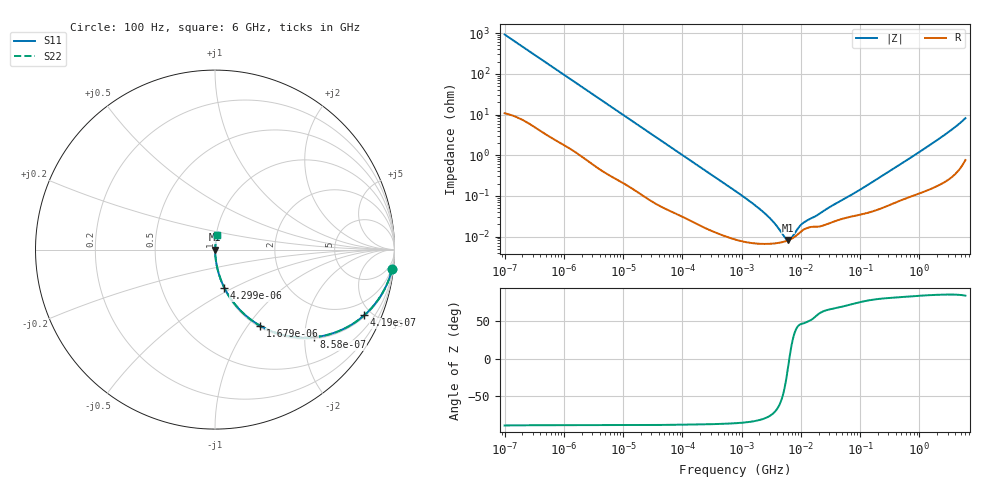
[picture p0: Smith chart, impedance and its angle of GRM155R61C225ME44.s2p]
!Murata Part Number: GRM155R61C225ME44
!These Parameters are Measured in Series Mode Connection
!Data Generated on Mar 30, 2021
!  o--ll--o
!Port1  Port2
!  o------o
!Operation Temp=25[degC], DC Bias Voltage=0[V]
!Freq. Start=100[Hz] Stop=6[GHz] 401[Steps]
# Hz S RI R 50
!Freq.(Hz) S11(Real) S11(Imag) S21(Real) S21(Imag) S12(Real) S12(Imag) S22(Real) S22(Imag)
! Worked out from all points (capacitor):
!   401 points, 100 Hz to 6 GHz, reference 50 ohm
!   read as one part in series: C = 1.71 uF near 109 Hz
!   lowest |Z| = 8.2 mohm at 6.075 MHz (marker M1)
!   series resonance near 6.393 MHz, so ESL is about 360 pH
!   S11 on the Smith chart (normalised r, x): 100 Hz: 1, -19; 419 Hz: 1.08, -4.51; 858 Hz: 1.04, -2.22; 1.679 kHz: 1.02, -1.15; 4.299 kHz: 1.01, -0.45; 6 GHz: 1.02, +0.16
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100  0.9874 -0.106  0.0126 0.106  0.0126 0.106  0.9874 -0.106
224  0.943 -0.224  0.057 0.224  0.057 0.224  0.943 -0.224
419  0.8318 -0.3658  0.1682 0.3658  0.1682 0.3658  0.8318 -0.3658
600  0.7115 -0.4445  0.2885 0.4445  0.2885 0.4445  0.7115 -0.4445
858  0.5515 -0.4883  0.4485 0.4883  0.4485 0.4883  0.5515 -0.4883
1174  0.4011 -0.4807  0.5989 0.4807  0.5989 0.4807  0.4011 -0.4807
1679  0.2511 -0.4241  0.7489 0.4241  0.7489 0.4241  0.2511 -0.4241
2008  0.1919 -0.3843  0.8081 0.3843  0.8081 0.3843  0.1919 -0.3843
4299  0.0522 -0.2134  0.9478 0.2134  0.9478 0.2134  0.0522 -0.2134
11009  0.00976 -0.0882  0.9902 0.0882  0.9902 0.0882  0.00976 -0.0882
40335  0.00119 -0.0247  0.9988 0.0247  0.9988 0.0247  0.00119 -0.0247
774597  8.62e-05 -0.00133  0.9999 0.00133  0.9999 0.00133  8.62e-05 -0.00133
2268635  6.59e-05 -0.000408  0.9999 0.000408  0.9999 0.000408  6.59e-05 -0.000408
3394479  6.7e-05 -0.000224  0.9999 0.000224  0.9999 0.000224  6.7e-05 -0.000224
5079039  7.37e-05 -7.7e-05  0.9999 7.7e-05  0.9999 7.7e-05  7.37e-05 -7.7e-05
6075234  8.02e-05 -1.69e-05  0.9999 1.69e-05  0.9999 1.69e-05  8.02e-05 -1.69e-05
7266822  9.1e-05 4.23e-05  0.9999 -4.23e-05  0.9999 -4.23e-05  9.1e-05 4.23e-05
1.039699e7  0.000138 0.000148  0.9999 -0.000148  0.9999 -0.000148  0.000138 0.000148
1.555665e7  0.000173 0.00023  0.9998 -0.00023  0.9998 -0.00023  0.000173 0.00023
3.124326e8  0.000607 0.00398  0.9994 -0.00398  0.9994 -0.00398  0.000607 0.00398
2.048624e9  0.00234 0.0239  0.9977 -0.0239  0.9977 -0.0239  0.00234 0.0239
6e9  0.0139 0.0793  0.9861 -0.0793  0.9861 -0.0793  0.0139 0.0793
